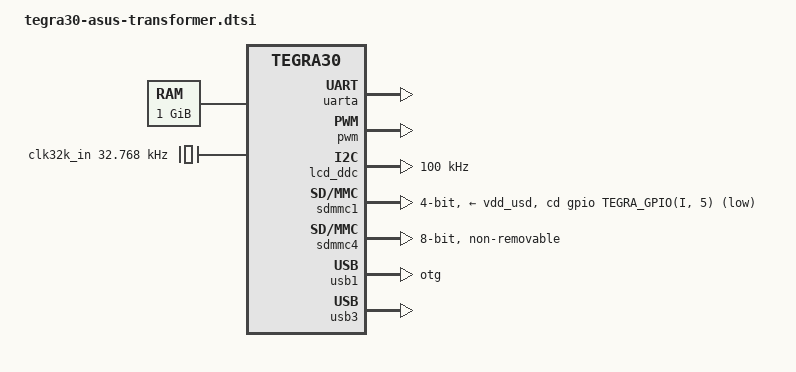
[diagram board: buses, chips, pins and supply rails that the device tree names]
// SPDX-License-Identifier: GPL-2.0-or-later

#include "tegra30.dtsi"

/ {
	compatible = "asus,transformer", "nvidia,tegra30";

	chosen {
		stdout-path = &uarta;
	};

	aliases {
		i2c0 = &pmic_i2c;
		i2c1 = &lcd_ddc;

		mmc0 = &sdmmc4;	/* eMMC */
		mmc1 = &sdmmc1; /* uSD slot */

		rtc0 = &pmic;
		rtc1 = "/rtc@7000e000";

		usb0 = &usb1;
		usb1 = &usb3; /* Dock USB */
	};

	memory {
		device_type = "memory";
		reg = <0x80000000 0x40000000>;
	};

	uarta: serial@70006000 {
		status = "okay";
	};

	pwm: pwm@7000a000 {
		status = "okay";
	};

	lcd_ddc: i2c@7000c000 {
		status = "okay";
		clock-frequency = <100000>;
	};

	sdmmc1: sdhci@78000000 {
		status = "okay";
		bus-width = <4>;

		cd-gpios = <&gpio TEGRA_GPIO(I, 5) GPIO_ACTIVE_LOW>;
		power-gpios = <&gpio TEGRA_GPIO(D, 7) GPIO_ACTIVE_HIGH>;

		vmmc-supply = <&vdd_usd>;
		vqmmc-supply = <&vddio_usd>;
	};

	sdmmc4: sdhci@78000600 {
		status = "okay";
		bus-width = <8>;
		non-removable;
	};

	/* USB via ASUS connector */
	usb1: usb@7d000000 {
		status = "okay";
		dr_mode = "otg";
	};

	/* Dock's USB port */
	usb3: usb@7d008000 {
		status = "okay";
	};

	clocks {
		compatible = "simple-bus";
		#address-cells = <1>;
		#size-cells = <0>;

		clk32k_in: clock@0 {
			compatible = "fixed-clock";
			reg = <0>;
			#clock-cells = <0>;
			clock-frequency = <32768>;
		};
	};
};
